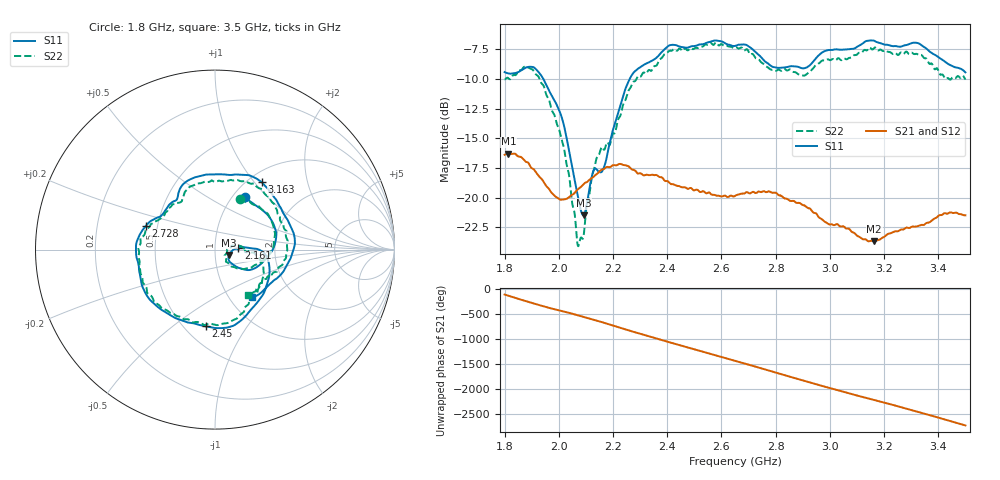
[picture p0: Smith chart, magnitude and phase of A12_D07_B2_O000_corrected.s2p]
! Created with skrf 1.9.0 (http://scikit-rf.org).
# Hz S RI R 50.0
!freq ReS11 ImS11 ReS21 ImS21 ReS12 ImS12 ReS22 ImS22
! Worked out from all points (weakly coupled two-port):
!   1601 points, 1.8 GHz to 3.5 GHz, reference 50 ohm
!   highest |S21| = -16.29 dB at 1.814 GHz (marker M1); lowest = -23.7 dB at 3.163 GHz (marker M2)
!   lowest |S11| = -21.5 dB at 2.091 GHz (marker M3), VSWR 1.18, Z = 58.4 - j3.57 ohm
!   |S11| at or under -10 dB: 1.943 GHz to 2.262 GHz (319.2 MHz wide, 15.2 % of centre)
!   |S22| runs from -24.1 to -7.0 dB; largest |S21 - S12| = 0.0029
!   S11 on the Smith chart (normalised r, x): 1.8 GHz: 1.13, +0.75; 2.161 GHz: 1.30, +0.02; 2.45 GHz: 0.63, -0.66; 2.728 GHz: 0.43, +0.13; 3.163 GHz: 1.15, +1.09; 3.5 GHz: 1.27, -0.76
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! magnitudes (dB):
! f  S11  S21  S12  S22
! 1.8 GHz  -9.4  -16.4  -16.4  -10.1
! 1.814 GHz  -9.6  -16.3  -16.3  -10.0
! 1.881 GHz  -9.0  -17.0  -17.0  -9.0
! 1.942 GHz  -10.0  -18.6  -18.6  -10.5
! 2.013 GHz  -13.4  -20.2  -20.2  -15.3
! 2.069 GHz  -19.7  -19.3  -19.3  -23.9
! 2.084 GHz  -21.2  -19.0  -19.0  -23.4
! 2.091 GHz  -21.5  -18.9  -18.9  -23.3
! 2.128 GHz  -17.7  -18.2  -18.2  -17.7
! 2.161 GHz  -17.7  -17.6  -17.6  -15.8
! 2.192 GHz  -15.0  -17.4  -17.4  -15.2
! 2.26 GHz  -10.1  -17.4  -17.4  -10.9
! 2.367 GHz  -8.1  -18.2  -18.1  -8.6
! 2.45 GHz  -7.3  -19.1  -19.1  -7.5
! 2.65 GHz  -7.2  -19.9  -19.8  -7.4
! 2.728 GHz  -7.8  -19.6  -19.6  -8.3
! 2.798 GHz  -9.0  -19.6  -19.6  -9.3
! 2.934 GHz  -8.7  -21.1  -21.1  -9.2
! 3.163 GHz  -6.8  -23.7  -23.6  -7.4
! 3.217 GHz  -7.2  -23.0  -23.0  -7.7
! 3.326 GHz  -7.0  -22.4  -22.4  -8.0
! 3.5 GHz  -9.5  -21.5  -21.5  -10.1
